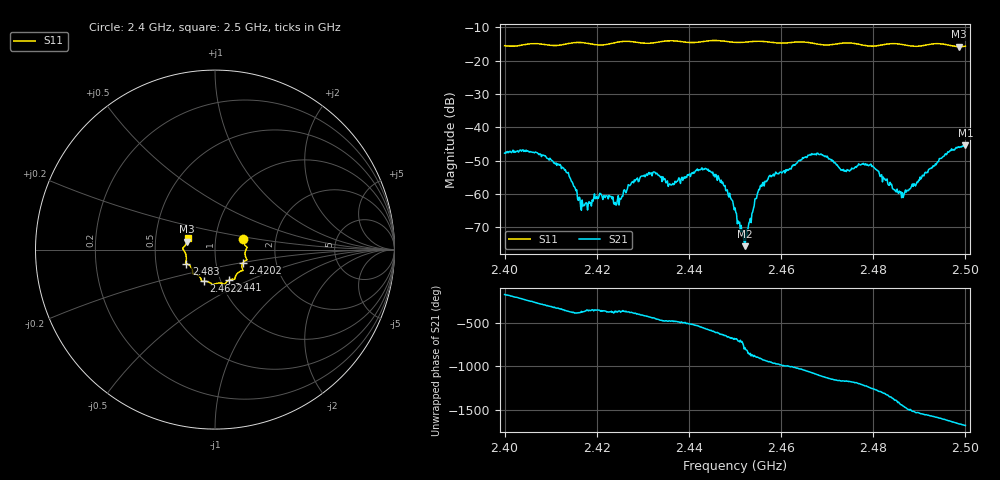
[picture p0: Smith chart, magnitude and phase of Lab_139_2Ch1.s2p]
# Hz S RI R 50
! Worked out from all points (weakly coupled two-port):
!   601 points, 2.4 GHz to 2.5 GHz, reference 50 ohm
!   highest |S21| = -45.38 dB at 2.5 GHz (marker M1); lowest = -75.7 dB at 2.4522 GHz (marker M2)
!   lowest |S11| = -15.8 dB at 2.4987 GHz (marker M3), VSWR 1.39, Z = 36.4 + j3.3 ohm
!   |S11| at or under -10 dB: start of sweep to end of sweep
!   S12 and S22 are empty: the file has one direction only
!   S11 on the Smith chart (normalised r, x): 2.4 GHz: 1.36, +0.17; 2.4202 GHz: 1.35, -0.20; 2.441 GHz: 1.10, -0.39; 2.4622 GHz: 0.83, -0.30; 2.483 GHz: 0.72, -0.12; 2.5 GHz: 0.73, +0.09
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2.4e9  0.1564 0.0603  -0.00406 -0.000296  0 0  0 0
2.411667e9  0.1677 -0.0264  0.00247 0.00126  0 0  0 0
2.416667e9  0.1777 -0.0582  0.000557 -8.88e-05  0 0  0 0
2.420167e9  0.1564 -0.0719  0.000842 0.000119  0 0  0 0
2.424333e9  0.1534 -0.1095  0.000692 -0.000103  0 0  0 0
2.428333e9  0.1492 -0.118  0.00137 -0.000736  0 0  0 0
2.433333e9  0.1132 -0.1522  -0.000369 -0.00186  0 0  0 0
2.436e9  0.1109 -0.1652  -0.000743 -0.00115  0 0  0 0
2.441e9  0.0769 -0.1705  -0.00201 -0.000653  0 0  0 0
2.446e9  0.0518 -0.1938  -0.000563 0.00173  0 0  0 0
2.45e9  0.0268 -0.1863  0.000525 0.000323  0 0  0 0
2.452167e9  0.00605 -0.1892  6.68e-05 -0.000149  0 0  0 0
2.455667e9  -0.0127 -0.1946  -0.00131 0.000312  0 0  0 0
2.462167e9  -0.0629 -0.1765  0.000551 0.00228  0 0  0 0
2.466667e9  -0.0768 -0.1671  0.004 0.000413  0 0  0 0
2.473667e9  -0.1233 -0.1361  1.63e-05 -0.00218  0 0  0 0
2.479667e9  -0.1338 -0.0966  -0.00256 -0.000265  0 0  0 0
2.483e9  -0.1592 -0.078  -0.000584 0.00157  0 0  0 0
2.483333e9  -0.1608 -0.0772  -0.000272 0.00132  0 0  0 0
2.486667e9  -0.1612 -0.0626  0.00091 -0.000345  0 0  0 0
2.498667e9  -0.1557 0.0441  -0.00376 0.00324  0 0  0 0
2.5e9  -0.1527 0.0626  -0.00278 0.00461  0 0  0 0
